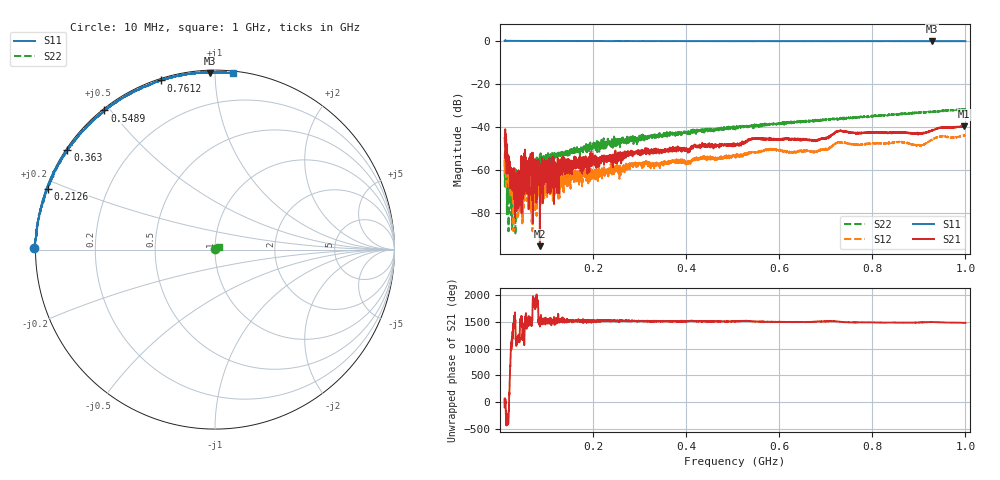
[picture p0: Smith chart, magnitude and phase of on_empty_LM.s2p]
!Agilent Technologies,E8362C,MY43020457,A.09.42.15
!Agilent E8362C: A.09.42.15
!Date: Friday, March 13, 2026 14:11:51
!Correction: S11(Full 2 Port(1,2))
!S21(Full 2 Port(1,2))
!S12(Full 2 Port(1,2))
!S22(Full 2 Port(1,2))
!S2P File: Measurements: S11, S21, S12, S22:
# Hz S  dB  R 50
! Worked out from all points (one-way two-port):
!   3201 points, 10 MHz to 1 GHz, reference 50 ohm
!   highest |S21| = -39.61 dB at 996.9 MHz (marker M1); lowest = -95.3 dB at 85.8 MHz (marker M2)
!   lowest |S11| = -0.1 dB at 927.3 MHz (marker M3), VSWR 127.07, Z = 0.767 + j48.7 ohm
!   |S11| at or under -10 dB: nowhere
!   |S22| runs from -90.0 to -31.6 dB; largest |S21 - S12| = 0.0092
!   S11 on the Smith chart (normalised r, x): 10 MHz: -0.00, +0.01; 212.6 MHz: 0.00, +0.18; 363 MHz: 0.00, +0.31; 548.9 MHz: 0.01, +0.48; 761.2 MHz: 0.01, +0.73; 1 GHz: 0.01, +1.11
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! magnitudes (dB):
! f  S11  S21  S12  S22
! 10 MHz  0.1  -45.2  -52.2  -55.3
! 21.45 MHz  0.0  -60.3  -64.9  -65.7
! 28.25 MHz  0.0  -66.8  -69.5  -71.4
! 35.37 MHz  0.0  -65.8  -71.1  -61.8
! 50.53 MHz  0.0  -53.9  -67.2  -59.2
! 60.43 MHz  0.0  -58.3  -70.2  -59.2
! 67.54 MHz  0.0  -57.3  -61.0  -58.9
! 85.8 MHz  0.0  -95.3  -63.9  -53.2
! 175.2 MHz  -0.1  -55.8  -60.2  -49.9
! 212.6 MHz  -0.1  -54.4  -58.7  -48.2
! 340.1 MHz  -0.1  -50.4  -58.0  -43.9
! 363 MHz  -0.1  -50.6  -56.6  -43.2
! 505 MHz  -0.1  -47.8  -53.9  -40.1
! 548.9 MHz  -0.1  -45.1  -52.1  -39.0
! 670.2 MHz  -0.1  -46.3  -51.5  -37.0
! 728.1 MHz  -0.1  -41.9  -47.2  -35.9
! 761.2 MHz  -0.1  -42.6  -48.2  -35.4
! 835.1 MHz  -0.1  -42.6  -47.5  -34.4
! 902.5 MHz  -0.1  -42.9  -48.8  -33.3
! 927.3 MHz  -0.1  -41.6  -46.0  -32.8
! 996.9 MHz  -0.1  -39.6  -44.0  -31.9
! 1 GHz  -0.1  -39.6  -43.8  -32.0
